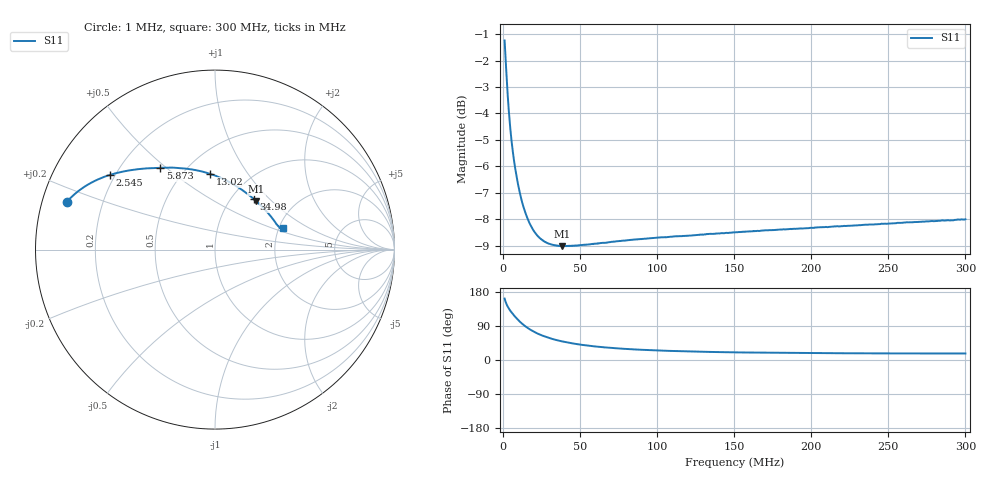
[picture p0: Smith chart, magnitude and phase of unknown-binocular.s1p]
# HZ S RI R 50
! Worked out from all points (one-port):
!   1010 points, 1 MHz to 300 MHz, reference 50 ohm
!   lowest |S11| = -9.0 dB at 38.07 MHz (marker M1), VSWR 2.10, Z = 65.9 + j40.5 ohm
!   |S11| at or under -10 dB: nowhere
!   S11 on the Smith chart (normalised r, x): 1 MHz: 0.07, +0.16; 2.545 MHz: 0.18, +0.31; 5.873 MHz: 0.37, +0.48; 13.02 MHz: 0.67, +0.69; 34.98 MHz: 1.26, +0.81; 300 MHz: 2.12, +0.59
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1000000  -0.8249 0.2667
1356500  -0.7655 0.323
1950700  -0.6696 0.3828
2544900  -0.5862 0.4157
3258000  -0.504 0.4364
3971100  -0.437 0.4469
4921800  -0.3639 0.4536
5872600  -0.3039 0.4559
7417500  -0.2217 0.4558
9081300  -0.1502 0.4495
1.0864e7  -0.087 0.4385
1.301578e7  -0.026 0.4217
1.511778e7  0.0215 0.4041
1.708848e7  0.0578 0.3879
2.181798e7  0.122 0.3516
2.602217e7  0.1616 0.3249
3.498097e7  0.2174 0.2808
3.806517e7  0.2311 0.2686
3.850577e7  0.2331 0.2672
4.470485e7  0.2552 0.2468
5.336305e7  0.2779 0.2234
7.581174e7  0.3132 0.1825
1.13227e8  0.3396 0.1465
1.508145e8  0.3533 0.1298
1.882903e8  0.3621 0.1217
2.256698e8  0.3689 0.118
2.628348e8  0.3752 0.1169
2.999999e8  0.3805 0.1178
